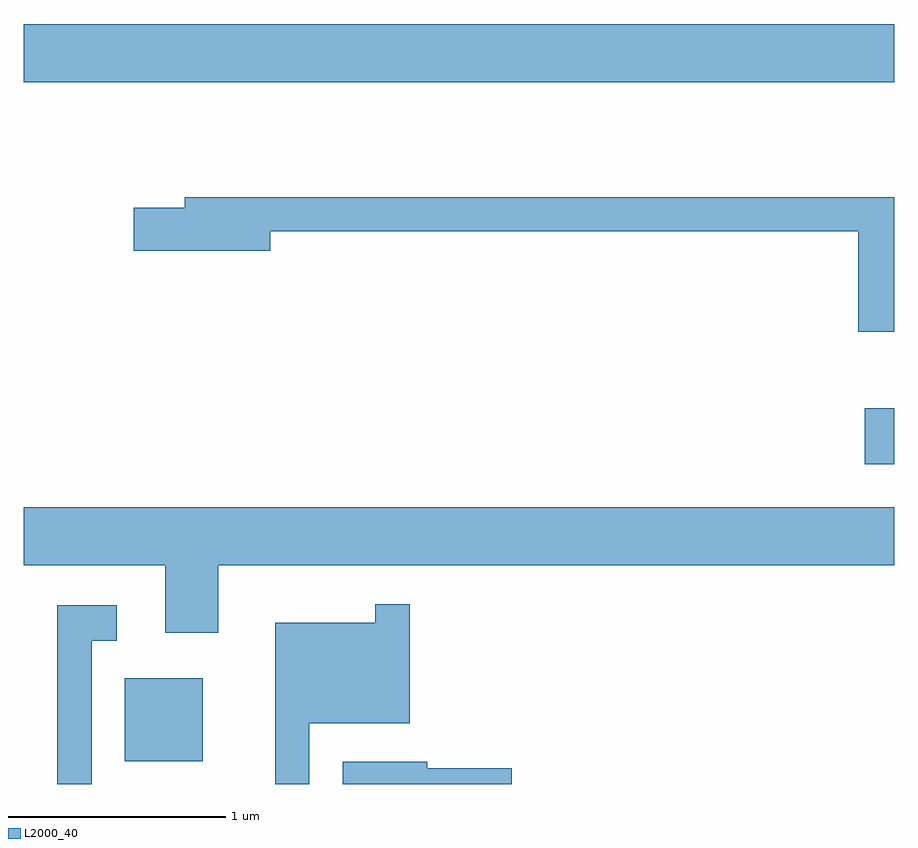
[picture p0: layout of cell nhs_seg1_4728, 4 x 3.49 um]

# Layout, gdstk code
import gdstk
lib = gdstk.Library(unit=1e-6, precision=1e-09)
def R(c, l, rs):  # rectangles x0, y0, x1, y1
    for r in rs: c.add(gdstk.rectangle(r[:2], r[2:], *l))
def P(c, l, *ps):  # polygons
    for p in ps: c.add(gdstk.Polygon(p, *l))
L2000_40 = (2000, 40)

nhs_seg1_4728 = lib.new_cell('nhs_seg1_4728')
R(nhs_seg1_4728, L2000_40, [(328.076,869.816,328.434,870.199), (331.476,871.181,331.611,871.439), (327.611,872.936,331.611,873.204)])
P(nhs_seg1_4728, L2000_40, [(331.611,872.409),(328.351,872.409),(328.351,872.359),(328.116,872.359),(328.116,872.161),(328.744,872.161),(328.744,872.251),(331.446,872.251),(331.446,871.791),(331.611,871.791)],
  [(328.504,870.716),(331.611,870.716),(331.611,870.984),(327.611,870.984),(327.611,870.716),(328.261,870.716),(328.261,870.406),(328.504,870.406)],
  [(328.924,869.991),(329.384,869.991),(329.384,870.538),(329.226,870.538),(329.226,870.454),(328.766,870.454),(328.766,869.712),(328.924,869.712)],
  [(327.924,870.371),(328.038,870.371),(328.038,870.534),(327.766,870.534),(327.766,869.712),(327.924,869.712)],
  [(329.854,869.784),(329.464,869.784),(329.464,869.814),(329.076,869.814),(329.076,869.712),(329.854,869.712)])

lib.write_gds('nhs_seg1_4728.gds')
